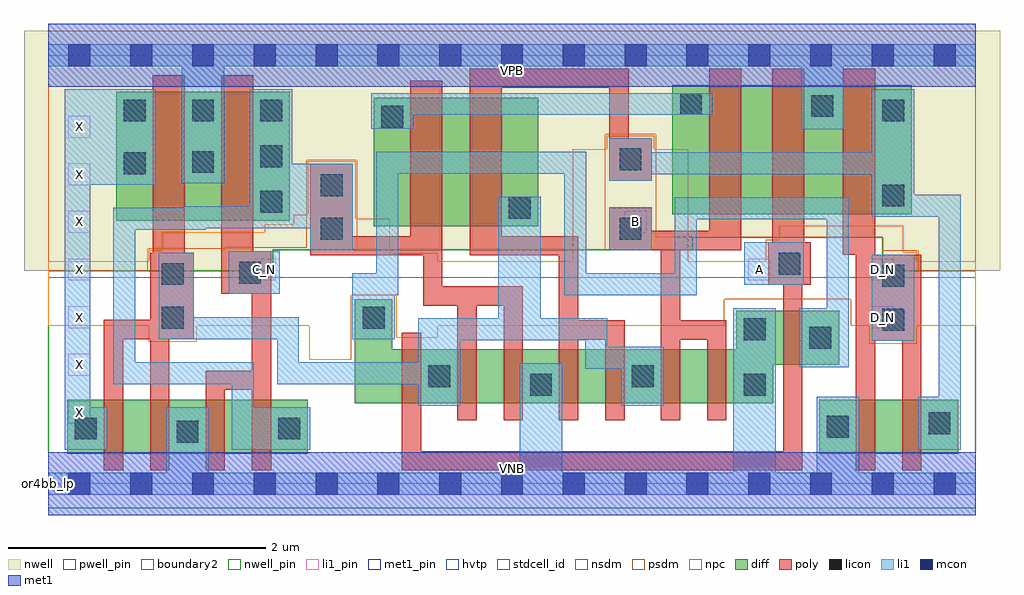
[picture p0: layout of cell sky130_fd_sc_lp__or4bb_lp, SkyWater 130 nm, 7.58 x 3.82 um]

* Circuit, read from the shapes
.subckt sky130_fd_sc_lp__or4bb_lp A B C_N D_N VGND VNB VPB VPWR X
XM1 n1 n2 X VNB sky130_fd_pr__nfet_01v8 w=0.42 l=0.15
XM2 VGND n2 n1 VNB sky130_fd_pr__nfet_01v8 w=0.42 l=0.15
XM3 n3 C_N VGND VNB sky130_fd_pr__nfet_01v8 w=0.42 l=0.15
XM4 n4 C_N n3 VNB sky130_fd_pr__nfet_01v8 w=0.42 l=0.15
XM5 n2 A n5 VNB sky130_fd_pr__nfet_01v8 w=0.42 l=0.15
XM6 n6 n4 n2 VNB sky130_fd_pr__nfet_01v8 w=0.42 l=0.15
XM7 VGND n4 n6 VNB sky130_fd_pr__nfet_01v8 w=0.42 l=0.15
XM8 n7 n8 VGND VNB sky130_fd_pr__nfet_01v8 w=0.42 l=0.15
XM9 n2 n8 n7 VNB sky130_fd_pr__nfet_01v8 w=0.42 l=0.15
XM10 n9 B n2 VNB sky130_fd_pr__nfet_01v8 w=0.42 l=0.15
XM11 VGND B n9 VNB sky130_fd_pr__nfet_01v8 w=0.42 l=0.15
XM12 n5 A VGND VNB sky130_fd_pr__nfet_01v8 w=0.42 l=0.15
XM13 n10 D_N VGND VNB sky130_fd_pr__nfet_01v8 w=0.42 l=0.15
XM14 n8 D_N n10 VNB sky130_fd_pr__nfet_01v8 w=0.42 l=0.15
XM15 VPWR n2 X VPB sky130_fd_pr__pfet_01v8_hvt w=1 l=0.25
XM16 n4 C_N VPWR VPB sky130_fd_pr__pfet_01v8_hvt w=1 l=0.25
XM17 n11 n4 n12 VPB sky130_fd_pr__pfet_01v8_hvt w=1 l=0.25
XM18 n2 n8 n11 VPB sky130_fd_pr__pfet_01v8_hvt w=1 l=0.25
XM19 n13 B n12 VPB sky130_fd_pr__pfet_01v8_hvt w=1 l=0.25
XM20 VPWR A n13 VPB sky130_fd_pr__pfet_01v8_hvt w=1 l=0.25
XM21 n8 D_N VPWR VPB sky130_fd_pr__pfet_01v8_hvt w=1 l=0.25
.ends

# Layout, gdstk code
import gdstk
lib = gdstk.Library(unit=1e-6, precision=1e-09)
def R(c, l, rs):  # rectangles x0, y0, x1, y1
    for r in rs: c.add(gdstk.rectangle(r[:2], r[2:], *l))
def A(c, l, x, y, w, h, nx, ny, dx, dy):  # array of equal rectangles
    R(c, l, [(x+i*dx, y+j*dy, x+i*dx+w, y+j*dy+h) for i in range(nx) for j in range(ny)])
def P(c, l, *ps):  # polygons
    for p in ps: c.add(gdstk.Polygon(p, *l))
nwell_pin = (64, 16)
nwell = (64, 20)
diff = (65, 20)
poly = (66, 20)
licon = (66, 44)
li1_pin = (67, 16)
li1 = (67, 20)
mcon = (67, 44)
met1_pin = (68, 16)
met1 = (68, 20)
hvtp = (78, 44)
stdcell_id = (81, 4)
nsdm = (93, 44)
psdm = (94, 20)
npc = (95, 20)
pwell_pin = (122, 16)
boundary2 = (236, 0)

sky130_fd_sc_lp__or4bb_l = lib.new_cell('sky130_fd_sc_lp__or4bb_lp')
R(sky130_fd_sc_lp__or4bb_l, nwell_pin, [(0,3.085,7.2,3.33)])
P(sky130_fd_sc_lp__or4bb_l, nwell, [(7.39,3.52),(-0.19,3.52),(-0.19,1.655),(1.74,1.655),(1.74,1.82),(5,1.82),(5,1.915),(6.48,1.915),(6.48,1.655),(7.39,1.655)])
R(sky130_fd_sc_lp__or4bb_l, diff, [(0.145,0.235,2.015,0.655), (5.985,0.235,7.065,0.655), (2.525,2,3.805,3), (0.525,2.045,1.875,3.045), (4.845,2.095,6.705,3.095)])
P(sky130_fd_sc_lp__or4bb_l, diff, [(6.14,1.345),(5.34,1.345),(5.34,1.045),(2.67,1.045),(2.67,1.435),(2.38,1.435),(2.38,0.625),(5.63,0.625),(5.63,0.925),(6.14,0.925)])
P(sky130_fd_sc_lp__or4bb_l, poly, [(1.13,1.795),(1.06,1.795),(1.06,3.175),(0.81,3.175),(0.81,1.795),(0.79,1.795),(0.79,1.275),(0.43,1.275),(0.43,0.105),(0.58,0.105),(0.58,1.125),(0.79,1.125),(0.79,0.105),(0.94,0.105),(0.94,1.125),(1.13,1.125)],
  [(1.73,1.805),(1.59,1.805),(1.59,3.175),(1.34,3.175),(1.34,1.475),(1.58,1.475),(1.58,0.88),(1.22,0.88),(1.22,0.105),(1.37,0.105),(1.37,0.73),(1.58,0.73),(1.58,0.105),(1.73,0.105)],
  [(3.685,1.535),(3.06,1.535),(3.06,3.13),(2.81,3.13),(2.81,1.925),(2.365,1.925),(2.365,2.485),(2.035,2.485),(2.035,1.775),(2.91,1.775),(2.91,1.385),(3.175,1.385),(3.175,0.495),(3.325,0.495),(3.325,1.385),(3.535,1.385),(3.535,0.495),(3.685,0.495)],
  [(4.685,2.685),(4.505,2.685),(4.505,3.225),(3.27,3.225),(3.27,1.775),(3.965,1.775),(3.965,0.495),(4.115,0.495),(4.115,1.12),(4.325,1.12),(4.325,0.495),(4.475,0.495),(4.475,1.27),(4.115,1.27),(4.115,1.925),(3.52,1.925),(3.52,3.075),(4.355,3.075),(4.355,2.355),(4.685,2.355)],
  [(5.38,3.225),(5.13,3.225),(5.13,1.965),(4.685,1.965),(4.685,2.145),(4.355,2.145),(4.355,1.815),(4.755,1.815),(4.755,0.495),(4.905,0.495),(4.905,1.12),(5.115,1.12),(5.115,0.495),(5.265,0.495),(5.265,1.27),(4.905,1.27),(4.905,1.815),(5.38,1.815)],
  [(5.92,1.875),(5.87,1.875),(5.87,3.225),(5.62,3.225),(5.62,1.875),(5.59,1.875),(5.59,1.545),(5.705,1.545),(5.705,0.255),(2.895,0.255),(2.895,1.175),(2.745,1.175),(2.745,0.105),(5.855,0.105),(5.855,1.545),(5.92,1.545)],
  [(6.78,1.78),(6.42,1.78),(6.42,3.225),(6.17,3.225),(6.17,1.78),(6.27,1.78),(6.27,0.105),(6.42,0.105),(6.42,1.11),(6.63,1.11),(6.63,0.105),(6.78,0.105)])
A(sky130_fd_sc_lp__or4bb_l, licon, 0.585, 2.815, 0.17, 0.17, 3, 1, 0.53, 0)
R(sky130_fd_sc_lp__or4bb_l, licon, [(0.995,0.32,1.165,0.49), (0.205,0.345,0.375,0.515), (1.785,0.345,1.955,0.515), (6.045,0.36,6.215,0.53), (6.835,0.385,7.005,0.555), (3.74,0.685,3.91,0.855), (5.4,0.685,5.57,0.855), (2.95,0.75,3.12,0.92), (4.53,0.75,4.7,0.92), (5.91,1.05,6.08,1.22), (5.4,1.115,5.57,1.285), (6.475,1.19,6.645,1.36), (0.88,1.205,1.05,1.375), (2.44,1.205,2.61,1.375), (6.475,1.53,6.645,1.7), (0.88,1.545,1.05,1.715), (1.48,1.555,1.65,1.725), (5.67,1.625,5.84,1.795), (2.115,1.895,2.285,2.065), (4.435,1.895,4.605,2.065), (3.575,2.06,3.745,2.23), (1.645,2.105,1.815,2.275), (6.475,2.155,6.645,2.325), (2.115,2.235,2.285,2.405), (0.585,2.405,0.755,2.575), (1.115,2.415,1.285,2.585), (4.435,2.435,4.605,2.605), (1.645,2.46,1.815,2.63), (2.585,2.765,2.755,2.935), (6.475,2.815,6.645,2.985), (5.925,2.85,6.095,3.02), (4.905,2.865,5.075,3.035)])
A(sky130_fd_sc_lp__or4bb_l, li1_pin, 0.155, 0.47, 0.17, 0.17, 1, 7, 0, 0.37)
R(sky130_fd_sc_lp__or4bb_l, li1_pin, [(6.395,1.21,6.565,1.38), (1.595,1.58,1.765,1.75), (5.435,1.58,5.605,1.75), (6.395,1.58,6.565,1.75), (4.475,1.95,4.645,2.12)])
R(sky130_fd_sc_lp__or4bb_l, li1, [(6.395,1.11,6.725,1.78), (1.4,1.475,1.795,1.805), (5.405,1.545,5.865,1.875), (4.355,1.815,4.685,2.15)])
P(sky130_fd_sc_lp__or4bb_l, li1, [(5.845,2.755),(5.845,3.245),(1.365,3.245),(1.365,2.335),(1.035,2.335),(1.035,3.245),(0,3.245),(0,3.415),(7.2,3.415),(7.2,3.245),(6.175,3.245),(6.175,2.755)],
  [(0.915,0.085),(0.915,0.595),(1.245,0.595),(1.245,0.085),(3.66,0.085),(3.66,0.935),(3.99,0.935),(3.99,0.085),(5.32,0.085),(5.32,1.365),(5.65,1.365),(5.65,0.085),(5.965,0.085),(5.965,0.675),(6.295,0.675),(6.295,0.085),(7.2,0.085),(7.2,-0.085),(0,-0.085),(0,0.085)],
  [(4.17,0.895),(4.17,1.115),(3.2,1.115),(3.2,0.605),(2.87,0.605),(2.87,0.775),(1.775,0.775),(1.775,1.125),(0.855,1.125),(0.855,1.795),(1.13,1.795),(1.13,1.295),(1.945,1.295),(1.945,0.945),(2.87,0.945),(2.87,1.285),(3.495,1.285),(3.495,2.23),(3.825,2.23),(3.825,1.285),(4.34,1.285),(4.34,1.065),(4.78,1.065),(4.78,0.605),(4.45,0.605),(4.45,0.895)],
  [(4.005,1.465),(4.005,2.41),(2.715,2.41),(2.715,1.465),(2.69,1.465),(2.69,1.125),(2.36,1.125),(2.36,1.635),(2.545,1.635),(2.545,2.58),(4.175,2.58),(4.175,1.635),(4.865,1.635),(4.865,2.225),(6.215,2.225),(6.215,0.905),(5.83,0.905),(5.83,1.365),(6.045,1.365),(6.045,2.055),(5.035,2.055),(5.035,1.465)],
  [(6.395,2.075),(6.395,2.405),(4.685,2.405),(4.685,2.355),(4.355,2.355),(4.355,2.685),(4.685,2.685),(4.685,2.575),(6.395,2.575),(6.395,3.065),(6.725,3.065),(6.725,2.245),(7.085,2.245),(7.085,0.265),(6.755,0.265),(6.755,0.675),(6.915,0.675),(6.915,2.075)],
  [(1.425,0.265),(1.425,0.775),(0.505,0.775),(0.505,2.145),(1.05,2.145),(1.05,2.155),(1.565,2.155),(1.565,3.065),(1.895,3.065),(1.895,2.485),(2.365,2.485),(2.365,1.815),(2.035,1.815),(2.035,1.985),(1.22,1.985),(1.22,1.975),(0.675,1.975),(0.675,0.945),(1.595,0.945),(1.595,0.595),(2.035,0.595),(2.035,0.265)],
  [(5.155,3.035),(5.155,2.865),(2.835,2.865),(2.835,2.76),(2.505,2.76),(2.505,3.035)],
  [(0.125,3.065),(0.835,3.065),(0.835,2.325),(0.325,2.325),(0.325,0.595),(0.455,0.595),(0.455,0.265),(0.125,0.265)])
A(sky130_fd_sc_lp__or4bb_l, mcon, 0.155, -0.085, 0.17, 0.17, 15, 2, 0.48, 3.33)
R(sky130_fd_sc_lp__or4bb_l, met1_pin, [(0,0,7.2,0.245), (0,3.085,7.2,3.33)])
R(sky130_fd_sc_lp__or4bb_l, met1, [(0,-0.245,7.2,0.245), (0,3.085,7.2,3.575)])
R(sky130_fd_sc_lp__or4bb_l, hvtp, [(0,1.6,7.2,3.33)])
R(sky130_fd_sc_lp__or4bb_l, stdcell_id, [(0,0,7.2,3.33)])
P(sky130_fd_sc_lp__or4bb_l, nsdm, [(7.2,1.655),(6.48,1.655),(6.48,1.915),(5,1.915),(5,1.82),(1.74,1.82),(1.74,1.655),(0,1.655),(0,-0.19),(7.2,-0.19)])
P(sky130_fd_sc_lp__or4bb_l, psdm, [(7.2,3.52),(0,3.52),(0,1.655),(0.77,1.655),(0.77,1.825),(1.37,1.825),(1.37,1.835),(2.005,1.835),(2.005,2.515),(2.395,2.515),(2.395,1.82),(4.325,1.82),(4.325,2.715),(4.715,2.715),(4.715,1.915),(6.48,1.915),(6.48,1.81),(6.755,1.81),(6.755,1.655),(7.2,1.655)])
P(sky130_fd_sc_lp__or4bb_l, npc, [(7.2,1.73),(6.745,1.73),(6.745,1.8),(6.64,1.8),(6.64,2.005),(5.675,2.005),(5.675,1.895),(5.57,1.895),(5.57,1.73),(4.97,1.73),(4.97,2.6),(4.705,2.6),(4.705,2.705),(4.335,2.705),(4.335,2.6),(4.07,2.6),(4.07,1.73),(3.025,1.73),(3.025,1.79),(2.65,1.79),(2.65,2.06),(2.385,2.06),(2.385,2.505),(2.015,2.505),(2.015,2.09),(1.905,2.09),(1.905,2.015),(1.68,2.015),(1.68,1.955),(0.885,1.955),(0.885,1.815),(0.78,1.815),(0.78,1.73),(0,1.73),(0,1.23),(0.78,1.23),(0.78,1.105),(1.15,1.105),(1.15,1.23),(2.025,1.23),(2.025,0.965),(2.35,0.965),(2.35,1.465),(2.7,1.465),(2.7,1.135),(3.025,1.135),(3.025,1.23),(5.25,1.23),(5.25,1.435),(6.23,1.435),(6.23,1.23),(6.375,1.23),(6.375,1.09),(6.745,1.09),(6.745,1.23),(7.2,1.23)])
R(sky130_fd_sc_lp__or4bb_l, pwell_pin, [(0,0,7.2,0.245)])
R(sky130_fd_sc_lp__or4bb_l, boundary2, [(0,0,7.2,3.33)])
sky130_fd_sc_lp__or4bb_l.add(gdstk.Label('VNB', (3.6,0.123), layer=64, texttype=59))
sky130_fd_sc_lp__or4bb_l.add(gdstk.Label('VPB', (3.6,3.208), layer=64, texttype=5))
sky130_fd_sc_lp__or4bb_l.add(gdstk.Label('or4bb_lp', (0,0), layer=83, texttype=44))
sky130_fd_sc_lp__or4bb_l.add(gdstk.Label('VPWR', (3.6,3.208), layer=68, texttype=5))
sky130_fd_sc_lp__or4bb_l.add(gdstk.Label('VGND', (3.6,0.123), layer=68, texttype=5))
sky130_fd_sc_lp__or4bb_l.add(gdstk.Label('D_N', (6.48,1.295), layer=67, texttype=5))
sky130_fd_sc_lp__or4bb_l.add(gdstk.Label('D_N', (6.48,1.665), layer=67, texttype=5))
sky130_fd_sc_lp__or4bb_l.add(gdstk.Label('C_N', (1.68,1.665), layer=67, texttype=5))
sky130_fd_sc_lp__or4bb_l.add(gdstk.Label('B', (4.56,2.035), layer=67, texttype=5))
sky130_fd_sc_lp__or4bb_l.add(gdstk.Label('A', (5.52,1.665), layer=67, texttype=5))
sky130_fd_sc_lp__or4bb_l.add(gdstk.Label('X', (0.24,0.555), layer=67, texttype=5))
sky130_fd_sc_lp__or4bb_l.add(gdstk.Label('X', (0.24,0.925), layer=67, texttype=5))
sky130_fd_sc_lp__or4bb_l.add(gdstk.Label('X', (0.24,1.295), layer=67, texttype=5))
sky130_fd_sc_lp__or4bb_l.add(gdstk.Label('X', (0.24,1.665), layer=67, texttype=5))
sky130_fd_sc_lp__or4bb_l.add(gdstk.Label('X', (0.24,2.035), layer=67, texttype=5))
sky130_fd_sc_lp__or4bb_l.add(gdstk.Label('X', (0.24,2.405), layer=67, texttype=5))
sky130_fd_sc_lp__or4bb_l.add(gdstk.Label('X', (0.24,2.775), layer=67, texttype=5))

lib.write_gds('sky130_fd_sc_lp__or4bb_lp.gds')
